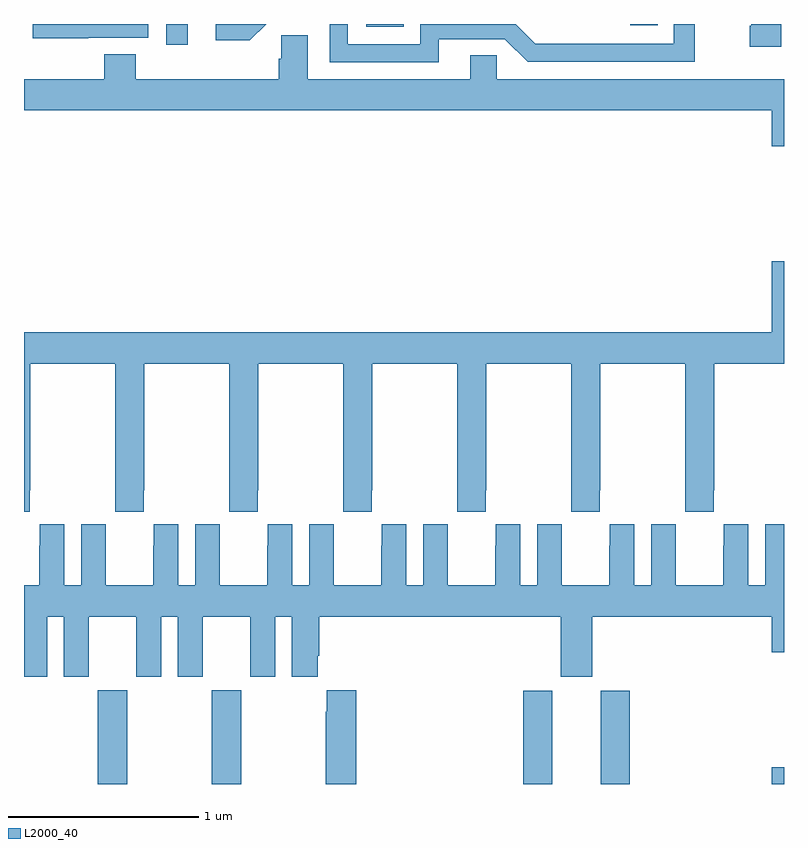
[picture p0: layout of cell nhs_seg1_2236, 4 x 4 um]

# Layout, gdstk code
import gdstk
lib = gdstk.Library(unit=1e-6, precision=1e-09)
def R(c, l, rs):  # rectangles x0, y0, x1, y1
    for r in rs: c.add(gdstk.rectangle(r[:2], r[2:], *l))
def P(c, l, *ps):  # polygons
    for p in ps: c.add(gdstk.Polygon(p, *l))
L2000_40 = (2000, 40)

nhs_seg1_2236 = lib.new_cell('nhs_seg1_2236')
R(nhs_seg1_2236, L2000_40, [(233.389,536.199,233.544,536.692), (233.989,536.199,234.144,536.692), (235.628,536.199,235.78,536.691), (236.036,536.199,236.189,536.691), (236.936,536.199,237,536.287), (233.748,540.09,233.863,540.199), (234.801,540.185,234.999,540.199), (236.19,540.192,236.336,540.199)])
P(nhs_seg1_2236, L2000_40, [(233.339,540.126),(233.655,540.126),(233.655,540.199),(233.047,540.199),(233.047,540.125),(233.339,540.125)],
  [(235.183,540.12),(235.53,540.12),(235.65,540),(236.53,540),(236.53,540.199),(236.421,540.199),(236.421,540.096),(235.692,540.096),(235.589,540.199),(235.086,540.199),(235.086,540.093),(234.705,540.093),(234.705,540.199),(234.609,540.199),(234.609,539.997),(235.183,539.997)],
  [(234.274,540.199),(234.009,540.199),(234.009,540.113),(234.187,540.113)],
  [(236.986,540.199),(236.828,540.199),(236.828,540.19),(236.821,540.19),(236.821,540.078),(236.986,540.078)],
  [(237,539.908),(235.488,539.908),(235.488,540.035),(235.349,540.035),(235.349,539.908),(234.493,539.908),(234.493,540.14),(234.354,540.14),(234.354,540.017),(234.341,540.017),(234.341,539.908),(233.588,539.908),(233.588,540.041),(233.423,540.041),(233.423,539.908),(233,539.908),(233,539.744),(236.936,539.744),(236.936,539.556),(237,539.556)],
  [(233.031,537.745),(233.034,537.745),(233.034,538.412),(233.479,538.412),(233.479,537.745),(233.481,537.745),(233.481,537.633),(233.631,537.633),(233.631,537.745),(233.634,537.745),(233.634,538.412),(234.079,538.412),(234.079,537.745),(234.081,537.745),(234.081,537.633),(234.231,537.633),(234.231,537.745),(234.234,537.745),(234.234,538.412),(234.679,538.412),(234.679,537.745),(234.681,537.745),(234.681,537.633),(234.831,537.633),(234.831,537.745),(234.834,537.745),(234.834,538.412),(235.279,538.412),(235.279,537.745),(235.281,537.745),(235.281,537.633),(235.431,537.633),(235.431,537.745),(235.434,537.745),(235.434,538.412),(235.879,538.412),(235.879,537.745),(235.881,537.745),(235.881,537.633),(236.031,537.633),(236.031,537.745),(236.034,537.745),(236.034,538.412),(236.479,538.412),(236.479,537.745),(236.481,537.745),(236.481,537.633),(236.631,537.633),(236.631,537.745),(236.634,537.745),(236.634,538.412),(237,538.412),(237,538.951),(236.936,538.951),(236.936,538.576),(233,538.576),(233,537.633),(233.031,537.633)],
  [(233.591,536.763),(233.722,536.763),(233.722,537.08),(233.81,537.08),(233.81,536.763),(233.941,536.763),(233.941,537.08),(234.191,537.08),(234.191,536.763),(234.322,536.763),(234.322,537.08),(234.41,537.08),(234.41,536.763),(234.547,536.763),(234.547,536.875),(234.554,536.875),(234.554,537.08),(235.826,537.08),(235.826,536.763),(235.99,536.763),(235.99,537.08),(236.936,537.08),(236.936,536.892),(237,536.892),(237,537.565),(236.9,537.565),(236.9,537.244),(236.812,537.244),(236.812,537.565),(236.682,537.565),(236.682,537.452),(236.681,537.452),(236.681,537.244),(236.431,537.244),(236.431,537.452),(236.43,537.452),(236.43,537.565),(236.3,537.565),(236.3,537.244),(236.212,537.244),(236.212,537.565),(236.082,537.565),(236.082,537.452),(236.081,537.452),(236.081,537.244),(235.831,537.244),(235.831,537.452),(235.83,537.452),(235.83,537.565),(235.7,537.565),(235.7,537.244),(235.612,537.244),(235.612,537.565),(235.482,537.565),(235.482,537.452),(235.481,537.452),(235.481,537.244),(235.231,537.244),(235.231,537.452),(235.23,537.452),(235.23,537.565),(235.1,537.565),(235.1,537.244),(235.012,537.244),(235.012,537.565),(234.882,537.565),(234.882,537.452),(234.881,537.452),(234.881,537.244),(234.631,537.244),(234.631,537.452),(234.63,537.452),(234.63,537.565),(234.5,537.565),(234.5,537.244),(234.412,537.244),(234.412,537.565),(234.282,537.565),(234.282,537.452),(234.281,537.452),(234.281,537.244),(234.031,537.244),(234.031,537.452),(234.03,537.452),(234.03,537.565),(233.9,537.565),(233.9,537.244),(233.812,537.244),(233.812,537.565),(233.682,537.565),(233.682,537.452),(233.681,537.452),(233.681,537.244),(233.431,537.244),(233.431,537.452),(233.43,537.452),(233.43,537.565),(233.3,537.565),(233.3,537.244),(233.212,537.244),(233.212,537.565),(233.082,537.565),(233.082,537.452),(233.081,537.452),(233.081,537.244),(233,537.244),(233,536.763),(233.122,536.763),(233.122,537.08),(233.21,537.08),(233.21,536.763),(233.341,536.763),(233.341,537.08),(233.591,537.08)],
  [(234.749,536.692),(234.593,536.692),(234.593,536.579),(234.589,536.579),(234.589,536.199),(234.749,536.199)])

lib.write_gds('nhs_seg1_2236.gds')
